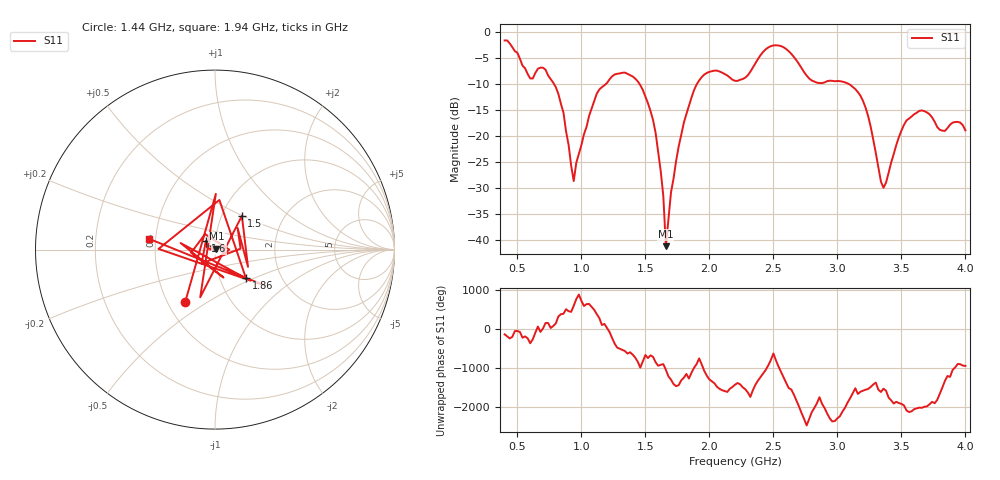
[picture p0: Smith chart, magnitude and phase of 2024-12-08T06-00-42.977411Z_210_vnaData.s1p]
!Created with skrf (http://scikit-rf.org).
# Hz S RI R 50.0
!freq ReS11 ImS11
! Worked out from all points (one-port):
!   181 points, 400 MHz to 4 GHz, reference 50 ohm
!   lowest |S11| = -41.3 dB at 1.66 GHz (marker M1), VSWR 1.02, Z = 50.7 + j0.453 ohm
!   |S11| at or under -10 dB: 787.1 MHz to 1.189 GHz (401.4 MHz wide, 40.6 % of centre); 1.456 GHz to 1.901 GHz (445.4 MHz wide, 26.5 % of centre); 3.093 GHz to end of sweep
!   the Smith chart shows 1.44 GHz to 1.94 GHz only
!   S11 on the Smith chart (normalised r, x): 1.44 GHz: 0.61, -0.41; 1.5 GHz: 1.24, +0.50; 1.6 GHz: 0.90, +0.09; 1.86 GHz: 1.33, -0.45; 1.94 GHz: 0.46, +0.06
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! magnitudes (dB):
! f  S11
! 400 MHz  -1.5
! 600 MHz  -8.9
! 720 MHz  -7.2
! 860 MHz  -15.5
! 940 MHz  -28.7
! 1.12 GHz  -11.8
! 1.3 GHz  -7.9
! 1.44 GHz  -9.4
! 1.5 GHz  -12.4
! 1.56 GHz  -16.9
! 1.6 GHz  -23.1
! 1.64 GHz  -31.6
! 1.66 GHz  -41.3
! 1.7 GHz  -30.9
! 1.76 GHz  -22.0
! 1.86 GHz  -12.6
! 1.94 GHz  -8.6
! 2.2 GHz  -9.3
! 2.48 GHz  -2.6
! 2.66 GHz  -4.7
! 2.8 GHz  -9.3
! 3.1 GHz  -10.1
! 3.22 GHz  -14.5
! 3.36 GHz  -30.0
! 3.56 GHz  -16.6
! 3.66 GHz  -15.1
! 3.8 GHz  -18.8
! 4 GHz  -18.9
